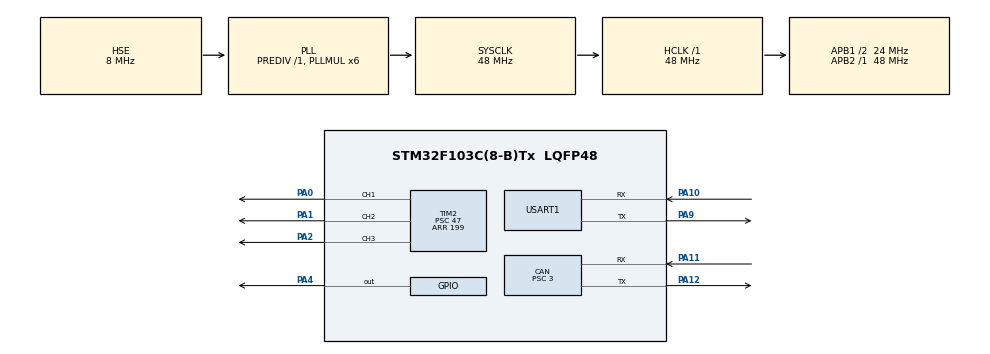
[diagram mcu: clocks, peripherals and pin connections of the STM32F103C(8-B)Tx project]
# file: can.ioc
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CAN.BS1=CAN_BS1_5TQ
CAN.BS2=CAN_BS2_2TQ
CAN.CalculateBaudRate=1000000
CAN.CalculateTimeBit=1000
CAN.CalculateTimeQuantum=125.0
CAN.Prescaler=3
FREERTOS.Tasks01=defaultTask,24,128,StartDefaultTask,Default,NULL,Dynamic,NULL,NULL
Mcu.Family=STM32F1
Mcu.Name=STM32F103C(8-B)Tx
Mcu.Package=LQFP48
NVIC.PriorityGroup=NVIC_PRIORITYGROUP_4
NVIC.TIM4_IRQn=true\:0\:0\:false\:false\:true\:false\:false\:true\:true
NVIC.TimeBase=TIM4_IRQn
NVIC.TimeBaseIP=TIM4
NVIC.USB_LP_CAN1_RX0_IRQn=true\:5\:0\:false\:false\:true\:true\:true\:true\:true
PA0-WKUP.Signal=S_TIM2_CH1_ETR
PA1.Signal=S_TIM2_CH2
PA10.Mode=Asynchronous
PA10.Signal=USART1_RX
PA11.Mode=CAN_Activate
PA11.Signal=CAN_RX
PA12.Mode=CAN_Activate
PA12.Signal=CAN_TX
PA13.Mode=Serial_Wire
PA13.Signal=SYS_JTMS-SWDIO
PA14.Mode=Serial_Wire
PA14.Signal=SYS_JTCK-SWCLK
PA2.Signal=S_TIM2_CH3
PA4.GPIO_PuPd=GPIO_PULLUP
PA4.PinState=GPIO_PIN_SET
PA4.Signal=GPIO_Output
PA9.Mode=Asynchronous
PA9.Signal=USART1_TX
PD0-OSC_IN.Mode=HSE-External-Oscillator
PD0-OSC_IN.Signal=RCC_OSC_IN
PD1-OSC_OUT.Mode=HSE-External-Oscillator
PD1-OSC_OUT.Signal=RCC_OSC_OUT
ProjectManager.HeapSize=0x200
ProjectManager.StackSize=0x400
ProjectManager.TargetToolchain=Makefile
RCC.AHBFreq_Value=48000000
RCC.APB1CLKDivider=RCC_HCLK_DIV2
RCC.APB1Freq_Value=24000000
RCC.APB1TimFreq_Value=48000000
RCC.APB2Freq_Value=48000000
RCC.APB2TimFreq_Value=48000000
RCC.HCLKFreq_Value=48000000
RCC.PLLMUL=RCC_PLL_MUL6
RCC.PLLSourceVirtual=RCC_PLLSOURCE_HSE
RCC.SYSCLKFreq_VALUE=48000000
RCC.SYSCLKSource=RCC_SYSCLKSOURCE_PLLCLK
RCC.USBFreq_Value=48000000
SH.S_TIM2_CH1_ETR.0=TIM2_CH1,PWM Generation1 CH1
SH.S_TIM2_CH2.0=TIM2_CH2,PWM Generation2 CH2
SH.S_TIM2_CH3.0=TIM2_CH3,PWM Generation3 CH3
TIM2.AutoReloadPreload=TIM_AUTORELOAD_PRELOAD_ENABLE
TIM2.Channel-PWM\ Generation1\ CH1=TIM_CHANNEL_1
TIM2.Channel-PWM\ Generation2\ CH2=TIM_CHANNEL_2
TIM2.Channel-PWM\ Generation3\ CH3=TIM_CHANNEL_3
TIM2.Period=199
TIM2.Prescaler=47
TIM2.Pulse-PWM\ Generation3\ CH3=10000
USART1.VirtualMode=VM_ASYNC
VP_FREERTOS_VS_CMSIS_V2.Mode=CMSIS_V2
VP_SYS_VS_tim4.Mode=TIM4
VP_TIM2_VS_ClockSourceINT.Mode=Internal
board=custom

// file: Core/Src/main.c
/* USER CODE BEGIN Header */
/**
  ******************************************************************************
  * @file           : main.c
  * @brief          : Main program body
  ******************************************************************************
  * @attention
  *
  * Copyright (c) 2023 STMicroelectronics.
  * All rights reserved.
  *
  * This software is licensed under terms that can be found in the LICENSE file
  * in the root directory of this software component.
  * If no LICENSE file comes with this software, it is provided AS-IS.
  *
  ******************************************************************************
  */
/* USER CODE END Header */
#include "main.h"
#include "cmsis_os.h"
#include "can.h"
#include "tim.h"
#include "usart.h"
#include "gpio.h"

void SystemClock_Config(void);
void MX_FREERTOS_Init(void);

int main(void)
{

  /* MCU Configuration--------------------------------------------------------*/

  /* Reset of all peripherals, Initializes the Flash interface and the Systick. */
  HAL_Init();

  /* Configure the system clock */
  SystemClock_Config();

  /* Initialize all configured peripherals */
  MX_GPIO_Init();
  MX_CAN_Init();
  MX_USART1_UART_Init();
  MX_TIM2_Init();

  /* Init scheduler */
  osKernelInitialize();  /* Call init function for freertos objects (in freertos.c) */
  MX_FREERTOS_Init();

  /* Start scheduler */
  osKernelStart();

  /* We should never get here as control is now taken by the scheduler */
  /* Infinite loop */
  while (1)
  {

  }
}

void SystemClock_Config(void)
{
  RCC_OscInitTypeDef RCC_OscInitStruct = {0};
  RCC_ClkInitTypeDef RCC_ClkInitStruct = {0};

  /** Initializes the RCC Oscillators according to the specified parameters
  * in the RCC_OscInitTypeDef structure.
  */
  RCC_OscInitStruct.OscillatorType = RCC_OSCILLATORTYPE_HSE;
  RCC_OscInitStruct.HSEState = RCC_HSE_ON;
  RCC_OscInitStruct.HSEPredivValue = RCC_HSE_PREDIV_DIV1;
  RCC_OscInitStruct.HSIState = RCC_HSI_ON;
  RCC_OscInitStruct.PLL.PLLState = RCC_PLL_ON;
  RCC_OscInitStruct.PLL.PLLSource = RCC_PLLSOURCE_HSE;
  RCC_OscInitStruct.PLL.PLLMUL = RCC_PLL_MUL6;
  if (HAL_RCC_OscConfig(&RCC_OscInitStruct) != HAL_OK)
  {
    Error_Handler();
  }

  /** Initializes the CPU, AHB and APB buses clocks
  */
  RCC_ClkInitStruct.ClockType = RCC_CLOCKTYPE_HCLK|RCC_CLOCKTYPE_SYSCLK
                              |RCC_CLOCKTYPE_PCLK1|RCC_CLOCKTYPE_PCLK2;
  RCC_ClkInitStruct.SYSCLKSource = RCC_SYSCLKSOURCE_PLLCLK;
  RCC_ClkInitStruct.AHBCLKDivider = RCC_SYSCLK_DIV1;
  RCC_ClkInitStruct.APB1CLKDivider = RCC_HCLK_DIV2;
  RCC_ClkInitStruct.APB2CLKDivider = RCC_HCLK_DIV1;

  if (HAL_RCC_ClockConfig(&RCC_ClkInitStruct, FLASH_LATENCY_1) != HAL_OK)
  {
    Error_Handler();
  }
}

void HAL_TIM_PeriodElapsedCallback(TIM_HandleTypeDef *htim)
{
  if (htim->Instance == TIM4) {
    HAL_IncTick();
  }
}

void Error_Handler(void)
{
  __disable_irq();
  while (1)
  {
  }
}

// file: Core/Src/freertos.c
/* USER CODE BEGIN Header */
/**
  ******************************************************************************
  * File Name          : freertos.c
  * Description        : Code for freertos applications
  ******************************************************************************
  * @attention
  *
  * Copyright (c) 2023 STMicroelectronics.
  * All rights reserved.
  *
  * This software is licensed under terms that can be found in the LICENSE file
  * in the root directory of this software component.
  * If no LICENSE file comes with this software, it is provided AS-IS.
  *
  ******************************************************************************
  */
/* USER CODE END Header */

#include "FreeRTOS.h"
#include "task.h"
#include "main.h"
#include "cmsis_os.h"

/* USER CODE BEGIN Includes */
#include "canNode.h"
#include <string.h>
#include "tim.h"
#include "flash.h"
/* USER CODE END Includes */

/* USER CODE BEGIN Variables */
ledStatus_s ledStatus_g = {0};
/* USER CODE END Variables */
/* Definitions for defaultTask */
osThreadId_t defaultTaskHandle;
const osThreadAttr_t defaultTask_attributes = {
  .name = "defaultTask",
  .stack_size = 128 * 4,
  .priority = (osPriority_t) osPriorityNormal,
};

/* USER CODE BEGIN FunctionPrototypes */
void led_status_change_handle(ledStatus_s *status);
void pwm_switch_handle(int value);
void status_led_switch_handle(int value);
/* USER CODE END FunctionPrototypes */

void StartDefaultTask(void *argument);

void MX_FREERTOS_Init(void); /* (MISRA C 2004 rule 8.1) */

void MX_FREERTOS_Init(void) {

  /* Create the thread(s) */
  /* creation of defaultTask */
  defaultTaskHandle = osThreadNew(StartDefaultTask, NULL, &defaultTask_attributes);

}

void StartDefaultTask(void *argument)
{
  /* USER CODE BEGIN StartDefaultTask */
    register_set_led_rgb_callback(led_status_change_handle);
    register_pwm_switch_callback(pwm_switch_handle);
    register_set_status_led_switch_callback(status_led_switch_handle);
    user_data_init();
    init_can_node();
  /* Infinite loop */
  for(;;)
  {
    osDelay(1);
  }
  /* USER CODE END StartDefaultTask */
}

/* USER CODE BEGIN Application */

void led_status_change_handle(ledStatus_s *status)
{
    // memcpy(&ledStatus_g, status, sizeof(ledStatus_s));
    // osSemaphoreRelease(ledSemHandle);
    switch (status->ledNum)
    {
    case 0:
        __HAL_TIM_SetCompare(&htim2, TIM_CHANNEL_1, status->ledColor.green * 2);
        __HAL_TIM_SetCompare(&htim2, TIM_CHANNEL_2, status->ledColor.red * 7);
        __HAL_TIM_SetCompare(&htim2, TIM_CHANNEL_3, status->ledColor.blue * 7);
        break;
    case 1:
        // map PWM to -1 to 1, assuming 1500 trim. If the servo has natural PWM
        // support then we should use it directly instead

        break;
    }
}

void pwm_switch_handle(int value)
{
    if(value == 1)
    {
        HAL_TIM_PWM_Start(&htim2, TIM_CHANNEL_1);
        HAL_TIM_PWM_Start(&htim2, TIM_CHANNEL_2);
        HAL_TIM_PWM_Start(&htim2, TIM_CHANNEL_3);
    }
    else
    {
        HAL_TIM_PWM_Stop(&htim2, TIM_CHANNEL_1);
        HAL_TIM_PWM_Stop(&htim2, TIM_CHANNEL_2);
        HAL_TIM_PWM_Stop(&htim2, TIM_CHANNEL_3);
    }
}

void status_led_switch_handle(int value)
{
    if(value == 1)
    {
        HAL_GPIO_WritePin(GPIOA, GPIO_PIN_4, RESET);
    }
    else
    {
        HAL_GPIO_WritePin(GPIOA, GPIO_PIN_4, SET);
    }
}

/* USER CODE END Application */
